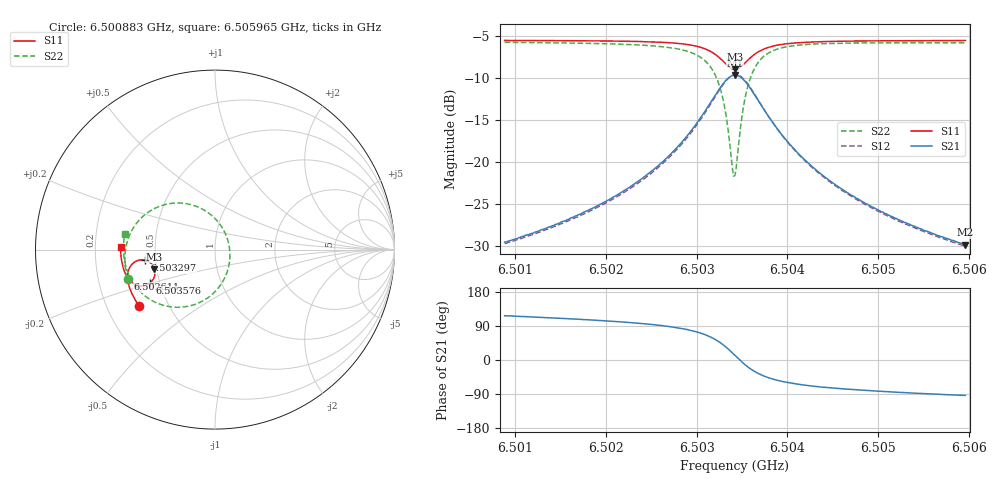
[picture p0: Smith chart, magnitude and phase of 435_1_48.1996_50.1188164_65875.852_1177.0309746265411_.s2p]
#  HZ  S  RI  R  50.00
! Rohde & Schwarz Vector Network Analyzer
! Rohde-Schwarz,ZNB20-2Port,1311601062101988,3.16
! Created: UTC 3/20/2024, 11:55:35 AM
! freq[Hz]  re:S11  im:S11  re:S21  im:S21  re:S12  im:S12  re:S22  im:S22
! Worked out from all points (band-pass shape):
!   401 points, 6.500883 GHz to 6.505965 GHz, reference 50 ohm
!   highest |S21| = -9.69 dB at 6.503424 GHz (marker M1); lowest = -29.9 dB at 6.505965 GHz (marker M2)
!   |S21| within 3 dB of the highest: 6.50317 GHz to 6.503678 GHz (508.2 kHz wide, 0.00781 % of centre)
!   lowest |S11| = -9.0 dB at 6.503424 GHz (marker M3), VSWR 2.10, Z = 24.3 - j5.95 ohm
!   |S11| at or under -10 dB: nowhere
!   |S22| runs from -21.7 to -5.8 dB; largest |S21 - S12| = 0.012
!   S11 on the Smith chart (normalised r, x): 6.500883 GHz: 0.34, -0.29; 6.502611 GHz: 0.33, -0.15; 6.503297 GHz: 0.44, -0.06; 6.503576 GHz: 0.44, -0.20; 6.505965 GHz: 0.31, +0.01
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6.5008827e9  -0.4235 -0.3129  -0.015 0.0297  -0.0133 0.0298  -0.4875 -0.1612
6.501734e9  -0.4606 -0.2504  -0.0144 0.0471  -0.0118 0.0469  -0.5019 -0.0715
6.502166e9  -0.476 -0.2127  -0.012 0.0643  -0.00894 0.0634  -0.5002 -0.0119
6.5025853e9  -0.4865 -0.1674  -0.00265 0.0955  0.000947 0.0933  -0.4806 0.0693
6.5026107e9  -0.4868 -0.1641  -0.00172 0.0982  0.00213 0.0959  -0.4781 0.0756
6.5029029e9  -0.4834 -0.1195  0.0252 0.1418  0.0291 0.1374  -0.4224 0.1643
6.5030935e9  -0.4623 -0.0815  0.0786 0.1837  0.0814 0.1776  -0.3203 0.2369
6.5032078e9  -0.4301 -0.0607  0.1473 0.2016  0.1482 0.1953  -0.1971 0.2598
6.5032968e9  -0.39 -0.0588  0.2262 0.1859  0.2267 0.1806  -0.0607 0.2205
6.5033349e9  -0.3708 -0.0662  0.2625 0.1631  0.2634 0.1585  -0.000757 0.1741
6.5033984e9  -0.344 -0.0927  0.3103 0.0998  0.3129 0.0947  0.0714 0.0524
6.5034238e9  -0.3376 -0.1072  0.3207 0.0678  0.3238 0.0618  0.0826 -0.00729
6.5034492e9  -0.3345 -0.1229  0.3245 0.0343  0.3279 0.0271  0.081 -0.0684
6.5035128e9  -0.3414 -0.16  0.3066 -0.0435  0.3087 -0.0537  0.0263 -0.2035
6.5035763e9  -0.3626 -0.1858  0.2642 -0.0977  0.2629 -0.1091  -0.0695 -0.2867
6.5036779e9  -0.402 -0.2012  0.1897 -0.1339  0.1843 -0.1437  -0.2191 -0.3213
6.5038431e9  -0.4481 -0.1915  0.1082 -0.1311  0.1013 -0.1362  -0.366 -0.2752
6.504021e9  -0.4753 -0.1702  0.0639 -0.1112  0.0575 -0.1135  -0.4378 -0.2106
6.5042751e9  -0.4961 -0.1401  0.0339 -0.0871  0.0291 -0.0876  -0.4812 -0.1387
6.504669e9  -0.512 -0.0994  0.0147 -0.0635  0.0113 -0.0631  -0.5041 -0.0619
6.5051264e9  -0.5211 -0.0573  0.00507 -0.0475  0.00281 -0.047  -0.5099 0.00166
6.505965e9  -0.5259 0.0134  -0.00194 -0.032  -0.00338 -0.0313  -0.502 0.0895
